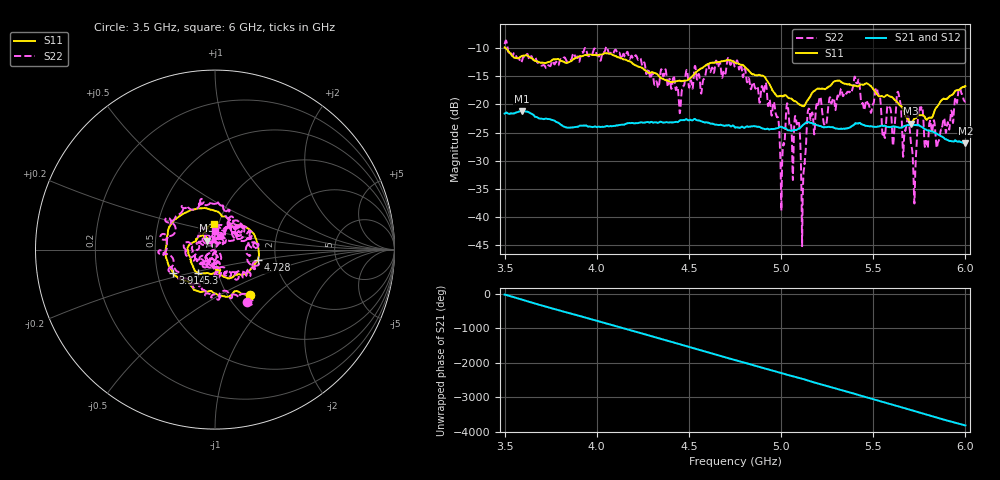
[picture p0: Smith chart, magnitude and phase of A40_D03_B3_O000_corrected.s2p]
! Created with skrf 1.9.0 (http://scikit-rf.org).
# Hz S RI R 50.0
!freq ReS11 ImS11 ReS21 ImS21 ReS12 ImS12 ReS22 ImS22
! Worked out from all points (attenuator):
!   1601 points, 3.5 GHz to 6 GHz, reference 50 ohm
!   highest |S21| = -21.19 dB at 3.592 GHz (marker M1); lowest = -26.9 dB at 6 GHz (marker M2)
!   lowest |S11| = -23.4 dB at 5.703 GHz (marker M3), VSWR 1.14, Z = 45.4 + j4.54 ohm
!   |S11| at or under -10 dB: 3.504 GHz to end of sweep
!   |S22| runs from -45.1 to -8.7 dB; largest |S21 - S12| = 0.00095
!   S11 on the Smith chart (normalised r, x): 3.5 GHz: 1.26, -0.71; 3.914 GHz: 0.60, -0.17; 4.728 GHz: 1.61, -0.20; 5.3 GHz: 0.80, -0.21; 6 GHz: 0.95, +0.28
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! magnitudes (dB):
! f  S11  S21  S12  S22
! 3.5 GHz  -9.9  -21.6  -21.6  -9.3
! 3.592 GHz  -11.4  -21.2  -21.2  -12.5
! 3.914 GHz  -11.5  -23.8  -23.7  -11.1
! 3.917 GHz  -11.5  -23.8  -23.8  -10.8
! 4.334 GHz  -14.9  -23.3  -23.2  -17.1
! 4.728 GHz  -12.2  -23.9  -23.8  -12.9
! 4.75 GHz  -12.6  -24.1  -24.0  -13.4
! 4.969 GHz  -18.2  -24.3  -24.3  -21.2
! 5.005 GHz  -18.5  -24.0  -24.0  -32.0
! 5.034 GHz  -18.7  -24.6  -24.5  -19.9
! 5.088 GHz  -19.7  -24.5  -24.4  -23.5
! 5.119 GHz  -20.3  -23.7  -23.6  -34.7
! 5.145 GHz  -19.2  -23.1  -23.1  -21.2
! 5.167 GHz  -18.0  -23.3  -23.3  -21.5
! 5.3 GHz  -15.9  -24.3  -24.2  -19.8
! 5.584 GHz  -18.5  -24.0  -24.0  -20.3
! 5.638 GHz  -19.9  -24.1  -24.1  -18.1
! 5.703 GHz  -23.4  -23.7  -23.7  -26.5
! 5.722 GHz  -22.6  -23.7  -23.6  -36.6
! 5.756 GHz  -21.9  -23.9  -23.8  -20.9
! 5.85 GHz  -20.3  -25.3  -25.2  -26.9
! 6 GHz  -16.8  -26.9  -26.8  -19.5
